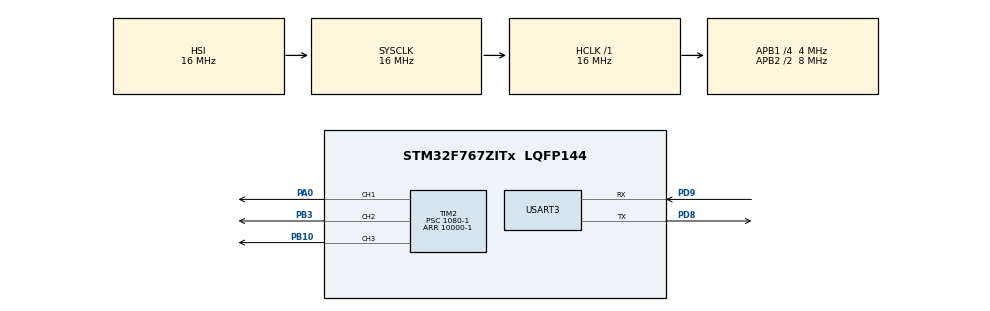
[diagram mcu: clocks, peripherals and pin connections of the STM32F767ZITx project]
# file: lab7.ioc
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CORTEX_M7.default_mode_Activation=1
Mcu.Family=STM32F7
Mcu.Name=STM32F767ZITx
Mcu.Package=LQFP144
NVIC.PriorityGroup=NVIC_PRIORITYGROUP_2
PA0/WKUP.Signal=S_TIM2_CH1_ETR
PB10.Signal=S_TIM2_CH3
PB3.Signal=S_TIM2_CH2
PD8.Mode=Asynchronous
PD8.Signal=USART3_TX
PD9.Mode=Asynchronous
PD9.Signal=USART3_RX
ProjectManager.HeapSize=0x200
ProjectManager.StackSize=0x400
ProjectManager.TargetToolchain=STM32CubeIDE
RCC.AHBFreq_Value=16000000
RCC.APB1CLKDivider=RCC_HCLK_DIV4
RCC.APB1Freq_Value=4000000
RCC.APB1TimFreq_Value=8000000
RCC.APB2CLKDivider=RCC_HCLK_DIV2
RCC.APB2Freq_Value=8000000
RCC.APB2TimFreq_Value=16000000
RCC.CortexFreq_Value=16000000
RCC.HCLKFreq_Value=16000000
RCC.HSE_VALUE=25000000
RCC.HSI_VALUE=16000000
RCC.LSE_VALUE=32768
RCC.PLLM=8
RCC.PLLN=216
RCC.SYSCLKFreq_VALUE=16000000
RCC.USBFreq_Value=216000000
RCC.VCOOutputFreq_Value=432000000
SH.S_TIM2_CH1_ETR.0=TIM2_CH1,PWM Generation1 CH1
SH.S_TIM2_CH2.0=TIM2_CH2,PWM Generation2 CH2
SH.S_TIM2_CH3.0=TIM2_CH3,PWM Generation3 CH3
TIM2.Channel-PWM\ Generation1\ CH1=TIM_CHANNEL_1
TIM2.Channel-PWM\ Generation2\ CH2=TIM_CHANNEL_2
TIM2.Channel-PWM\ Generation3\ CH3=TIM_CHANNEL_3
TIM2.Period=10000-1
TIM2.Prescaler=1080-1
TIM2.Pulse-PWM\ Generation1\ CH1=10000/4-1
TIM2.Pulse-PWM\ Generation2\ CH2=10000/4-1
TIM2.Pulse-PWM\ Generation3\ CH3=10000/4-1
USART3.VirtualMode-Asynchronous=VM_ASYNC
VP_TIM2_VS_ClockSourceINT.Mode=Internal
board=custom

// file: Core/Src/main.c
/* USER CODE BEGIN Header */
/**
  ******************************************************************************
  * @file           : main.c
  * @brief          : Main program body
  ******************************************************************************
  * @attention
  *
  * Copyright (c) 2025 STMicroelectronics.
  * All rights reserved.
  *
  * This software is licensed under terms that can be found in the LICENSE file
  * in the root directory of this software component.
  * If no LICENSE file comes with this software, it is provided AS-IS.
  *
  ******************************************************************************
  */
/* USER CODE END Header */
#include "main.h"

/* USER CODE BEGIN Includes */
#include <string.h>
#include <stdio.h>
/* USER CODE END Includes */

/* USER CODE BEGIN PTD */
//GPIO_InitTypeDef GPIO_InitStruct = {0};
uint8_t rxData;
int redDutyCycle = 0;
uint8_t pwm_r;
float pwm_g;
float pwm_b;
char tx_message[100];
int status=0;
int R_DutyCycle = 0;
int G_DutyCycle = 0;
int B_DutyCycle = 0;
float dutyCycle = 0.25;
float pwm;
/* USER CODE END PTD */

TIM_HandleTypeDef htim2;

UART_HandleTypeDef huart3;

void SystemClock_Config(void);
static void MPU_Config(void);
static void MX_GPIO_Init(void);
static void MX_TIM2_Init(void);
static void MX_USART3_UART_Init(void);

int main(void)
{

  /* MPU Configuration--------------------------------------------------------*/
  MPU_Config();

  /* MCU Configuration--------------------------------------------------------*/

  /* Reset of all peripherals, Initializes the Flash interface and the Systick. */
  HAL_Init();

  /* Configure the system clock */
  SystemClock_Config();

  /* Initialize all configured peripherals */
  MX_GPIO_Init();
  MX_TIM2_Init();
  MX_USART3_UART_Init();
  /* USER CODE BEGIN 2 */

//  HAL_UART_Receive_IT(&huart3, &rxData, 1);
//  HAL_TIM_PWM_Start(&htim2, TIM_CHANNEL_1);
//  HAL_TIM_PWM_Start(&htim2, TIM_CHANNEL_2);
//  HAL_TIM_PWM_Start(&htim2, TIM_CHANNEL_3);
//  __HAL_TIM_SET_COMPARE(&htim2, TIM_CHANNEL_1, R_DutyCycle);
//  __HAL_TIM_SET_COMPARE(&htim2, TIM_CHANNEL_2, G_DutyCycle);
//  __HAL_TIM_SET_COMPARE(&htim2, TIM_CHANNEL_3, B_DutyCycle);

  snprintf(tx_message, sizeof(tx_message),
  		  "Button (R, G, B) -> 0%, 20%, 40%, 60%, 80%, 100%\r\n"
		  "Button => ");

  HAL_UART_Transmit(&huart3, (uint8_t*)tx_message, sizeof(tx_message), HAL_MAX_DELAY);

  /* USER CODE END 2 */

  /* Infinite loop */
  /* USER CODE BEGIN WHILE */
  while (1)
  {
	  htim2.Instance -> CCR3 = (10000 - 1 )* dutyCycle;
	  HAL_TIM_PWM_Start(&htim2, TIM_CHANNEL_3);
	  HAL_Delay(100);
	  HAL_TIM_PWM_Stop(&htim2, TIM_CHANNEL_3);
	  pwm_r = (GPIOB->IDR & GPIO_PIN_10) >> 10;
    /* USER CODE END WHILE */

    /* USER CODE BEGIN 3 */
//	  if(HAL_UART_Receive(&huart3, &rxData, 1, 100) == HAL_OK)
//	     {
//		  HAL_UART_Transmit(&huart3, (uint8_t *)&rxData, 1, 100);
//
//	       // ตรวจสอบว่าเป็นตัวอักษร 'r' หรือไม่
//	       if(rxData == 'r')
//	       {
//	         // เพิ่มค่า duty cycle สำหรับ red channel ทีละ 20% (200 ถ้า ARR = 1000)
//	    	  R_DutyCycle += 20;
//	         if (R_DutyCycle > 100){
//	        	 R_DutyCycle = 0;
//	         }
//
//	         // อัพเดตค่า PWM สำหรับ TIM2_CH1 (Red LED)
//	         __HAL_TIM_SET_COMPARE(&htim2, TIM_CHANNEL_1, (1000 - 1 )* ((float)R_DutyCycle/100));
//
//	       } else if (rxData == 'g') {
//	    	   G_DutyCycle += 20;
//			 if (G_DutyCycle > 100){
//				 G_DutyCycle = 0;
//			 }
//
//			 // อัพเดตค่า PWM สำหรับ TIM2_CH1 (Red LED)
//			 __HAL_TIM_SET_COMPARE(&htim2, TIM_CHANNEL_2, (1000 - 1 )* ((float)G_DutyCycle/100));
//
//	       }else if (rxData == 'b') {
//	    	   B_DutyCycle += 20;
//			 if (B_DutyCycle > 100){
//				 B_DutyCycle = 0;
//			 }
//
//			 // อัพเดตค่า PWM สำหรับ TIM2_CH1 (Red LED)
//			 __HAL_TIM_SET_COMPARE(&htim2, TIM_CHANNEL_3, (1000 - 1 )* ((float)B_DutyCycle/100));
//
//	       }
//	       memset(tx_message, 0, sizeof(tx_message));
//		  snprintf(tx_message, sizeof(tx_message), "\r\n(R %u, G %u, B %u)Button => ", R_DutyCycle, G_DutyCycle, B_DutyCycle);
//		  HAL_UART_Transmit(&huart3, (uint8_t*)tx_message, sizeof(tx_message), HAL_MAX_DELAY);
//	       // คุณสามารถเพิ่มคำสั่งอื่นๆ สำหรับการควบคุมช่องอื่น ๆ ได้ที่นี่
//	     }
	  // Set colors: Red (High), Green (Medium), Blue (Low)
//	  memset(tx_message, 0, sizeof(tx_message));
//	  snprintf(tx_message, sizeof(tx_message), "\r\nButton => ");
//	  HAL_UART_Transmit(&huart3, (uint8_t*)tx_message, sizeof(tx_message), HAL_MAX_DELAY);
//	  HAL_UART_Receive_IT(&huart3, (uint8_t *)&rx_buffer, sizeof(rx_buffer));
//
//	  htim2.Instance -> CCR3 = (10000 - 1 )* ((float)R_dutyCycle/100);
//	  HAL_TIM_PWM_Start(&htim2, TIM_CHANNEL_3);
//	  HAL_Delay(100);
//	  HAL_TIM_PWM_Stop(&htim2, TIM_CHANNEL_3);
//
//	  while (HAL_UART_Receive(&huart3, (uint8_t*)&rx_buffer, sizeof(rx_buffer), HAL_MAX_DELAY) != HAL_OK){}
//	  HAL_UART_Transmit(&huart3, (uint8_t*)&rx_buffer, sizeof(rx_buffer), HAL_MAX_DELAY);

  }
  /* USER CODE END 3 */
}

void SystemClock_Config(void)
{
  RCC_OscInitTypeDef RCC_OscInitStruct = {0};
  RCC_ClkInitTypeDef RCC_ClkInitStruct = {0};

  /** Configure the main internal regulator output voltage
  */
  __HAL_RCC_PWR_CLK_ENABLE();
  __HAL_PWR_VOLTAGESCALING_CONFIG(PWR_REGULATOR_VOLTAGE_SCALE3);

  /** Initializes the RCC Oscillators according to the specified parameters
  * in the RCC_OscInitTypeDef structure.
  */
  RCC_OscInitStruct.OscillatorType = RCC_OSCILLATORTYPE_HSI;
  RCC_OscInitStruct.HSIState = RCC_HSI_ON;
  RCC_OscInitStruct.HSICalibrationValue = RCC_HSICALIBRATION_DEFAULT;
  RCC_OscInitStruct.PLL.PLLState = RCC_PLL_NONE;
  if (HAL_RCC_OscConfig(&RCC_OscInitStruct) != HAL_OK)
  {
    Error_Handler();
  }

  /** Initializes the CPU, AHB and APB buses clocks
  */
  RCC_ClkInitStruct.ClockType = RCC_CLOCKTYPE_HCLK|RCC_CLOCKTYPE_SYSCLK
                              |RCC_CLOCKTYPE_PCLK1|RCC_CLOCKTYPE_PCLK2;
  RCC_ClkInitStruct.SYSCLKSource = RCC_SYSCLKSOURCE_HSI;
  RCC_ClkInitStruct.AHBCLKDivider = RCC_SYSCLK_DIV1;
  RCC_ClkInitStruct.APB1CLKDivider = RCC_HCLK_DIV4;
  RCC_ClkInitStruct.APB2CLKDivider = RCC_HCLK_DIV2;

  if (HAL_RCC_ClockConfig(&RCC_ClkInitStruct, FLASH_LATENCY_0) != HAL_OK)
  {
    Error_Handler();
  }
}

static void MX_TIM2_Init(void)
{

  TIM_ClockConfigTypeDef sClockSourceConfig = {0};
  TIM_MasterConfigTypeDef sMasterConfig = {0};
  TIM_OC_InitTypeDef sConfigOC = {0};

  htim2.Instance = TIM2;
  htim2.Init.Prescaler = 1080-1;
  htim2.Init.CounterMode = TIM_COUNTERMODE_UP;
  htim2.Init.Period = 10000-1;
  htim2.Init.ClockDivision = TIM_CLOCKDIVISION_DIV1;
  htim2.Init.AutoReloadPreload = TIM_AUTORELOAD_PRELOAD_DISABLE;
  if (HAL_TIM_Base_Init(&htim2) != HAL_OK)
  {
    Error_Handler();
  }
  sClockSourceConfig.ClockSource = TIM_CLOCKSOURCE_INTERNAL;
  if (HAL_TIM_ConfigClockSource(&htim2, &sClockSourceConfig) != HAL_OK)
  {
    Error_Handler();
  }
  if (HAL_TIM_PWM_Init(&htim2) != HAL_OK)
  {
    Error_Handler();
  }
  sMasterConfig.MasterOutputTrigger = TIM_TRGO_RESET;
  sMasterConfig.MasterSlaveMode = TIM_MASTERSLAVEMODE_DISABLE;
  if (HAL_TIMEx_MasterConfigSynchronization(&htim2, &sMasterConfig) != HAL_OK)
  {
    Error_Handler();
  }
  sConfigOC.OCMode = TIM_OCMODE_PWM1;
  sConfigOC.Pulse = 10000/4-1;
  sConfigOC.OCPolarity = TIM_OCPOLARITY_HIGH;
  sConfigOC.OCFastMode = TIM_OCFAST_DISABLE;
  if (HAL_TIM_PWM_ConfigChannel(&htim2, &sConfigOC, TIM_CHANNEL_1) != HAL_OK)
  {
    Error_Handler();
  }
  if (HAL_TIM_PWM_ConfigChannel(&htim2, &sConfigOC, TIM_CHANNEL_2) != HAL_OK)
  {
    Error_Handler();
  }
  if (HAL_TIM_PWM_ConfigChannel(&htim2, &sConfigOC, TIM_CHANNEL_3) != HAL_OK)
  {
    Error_Handler();
  }
  /* USER CODE BEGIN TIM2_Init 2 */

//  HAL_TIM_PWM_Start(&htim2, TIM_CHANNEL_1);
//  HAL_TIM_PWM_Start(&htim2, TIM_CHANNEL_2);
//  HAL_TIM_PWM_Start(&htim2, TIM_CHANNEL_3);

  /* USER CODE END TIM2_Init 2 */
  HAL_TIM_MspPostInit(&htim2);

}

static void MX_USART3_UART_Init(void)
{

  huart3.Instance = USART3;
  huart3.Init.BaudRate = 115200;
  huart3.Init.WordLength = UART_WORDLENGTH_8B;
  huart3.Init.StopBits = UART_STOPBITS_1;
  huart3.Init.Parity = UART_PARITY_NONE;
  huart3.Init.Mode = UART_MODE_TX_RX;
  huart3.Init.HwFlowCtl = UART_HWCONTROL_NONE;
  huart3.Init.OverSampling = UART_OVERSAMPLING_16;
  huart3.Init.OneBitSampling = UART_ONE_BIT_SAMPLE_DISABLE;
  huart3.AdvancedInit.AdvFeatureInit = UART_ADVFEATURE_NO_INIT;
  if (HAL_UART_Init(&huart3) != HAL_OK)
  {
    Error_Handler();
  }

}

static void MX_GPIO_Init(void)
{

  /* GPIO Ports Clock Enable */
  __HAL_RCC_GPIOA_CLK_ENABLE();
  __HAL_RCC_GPIOB_CLK_ENABLE();
  __HAL_RCC_GPIOD_CLK_ENABLE();

}

/* USER CODE BEGIN 4 */

/* Function to Set LED Brightness */
void Set_LED_Brightness(uint16_t red, uint16_t green, uint16_t blue)
{
    __HAL_TIM_SET_COMPARE(&htim2, TIM_CHANNEL_1, red);
    __HAL_TIM_SET_COMPARE(&htim2, TIM_CHANNEL_2, green);
    __HAL_TIM_SET_COMPARE(&htim2, TIM_CHANNEL_3, blue);

}

/* USER CODE END 4 */

 /* MPU Configuration */

void MPU_Config(void)
{
  MPU_Region_InitTypeDef MPU_InitStruct = {0};

  /* Disables the MPU */
  HAL_MPU_Disable();

  /** Initializes and configures the Region and the memory to be protected
  */
  MPU_InitStruct.Enable = MPU_REGION_ENABLE;
  MPU_InitStruct.Number = MPU_REGION_NUMBER0;
  MPU_InitStruct.BaseAddress = 0x0;
  MPU_InitStruct.Size = MPU_REGION_SIZE_4GB;
  MPU_InitStruct.SubRegionDisable = 0x87;
  MPU_InitStruct.TypeExtField = MPU_TEX_LEVEL0;
  MPU_InitStruct.AccessPermission = MPU_REGION_NO_ACCESS;
  MPU_InitStruct.DisableExec = MPU_INSTRUCTION_ACCESS_DISABLE;
  MPU_InitStruct.IsShareable = MPU_ACCESS_SHAREABLE;
  MPU_InitStruct.IsCacheable = MPU_ACCESS_NOT_CACHEABLE;
  MPU_InitStruct.IsBufferable = MPU_ACCESS_NOT_BUFFERABLE;

  HAL_MPU_ConfigRegion(&MPU_InitStruct);
  /* Enables the MPU */
  HAL_MPU_Enable(MPU_PRIVILEGED_DEFAULT);

}

void Error_Handler(void)
{
  __disable_irq();
  while (1)
  {
  }
}
